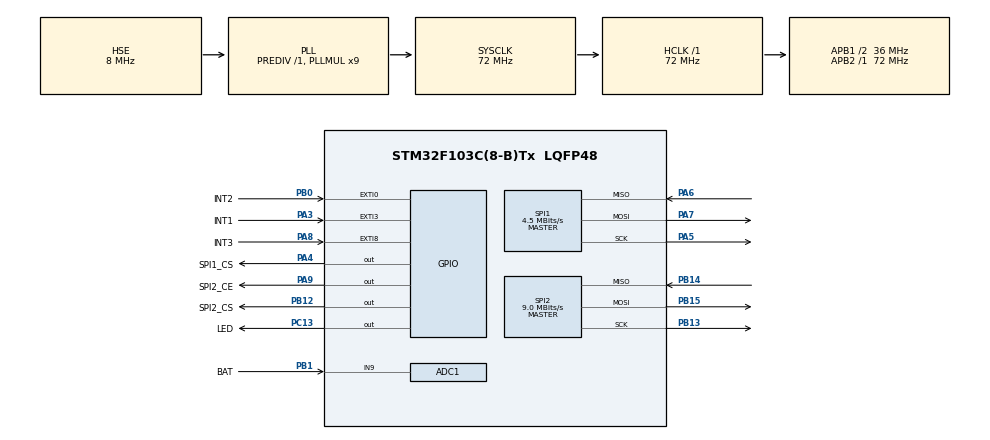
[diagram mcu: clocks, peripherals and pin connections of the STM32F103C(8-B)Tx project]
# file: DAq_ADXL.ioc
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ADC1.Channel-0\#ChannelRegularConversion=ADC_CHANNEL_9
ADC1.Channel-1\#ChannelInjectedConversion=ADC_CHANNEL_9
ADC1.InjNumberOfConversion=1
ADC1.InjectedOffset-1\#ChannelInjectedConversion=0
ADC1.NbrOfConversionFlag=1
ADC1.Rank-0\#ChannelRegularConversion=1
ADC1.Rank-1\#ChannelInjectedConversion=1
ADC1.SamplingTime-0\#ChannelRegularConversion=ADC_SAMPLETIME_1CYCLE_5
ADC1.SamplingTime-1\#ChannelInjectedConversion=ADC_SAMPLETIME_71CYCLES_5
ADC1.master=1
Dma.ADC1.0.Direction=DMA_PERIPH_TO_MEMORY
Dma.ADC1.0.Instance=DMA1_Channel1
Dma.ADC1.0.MemDataAlignment=DMA_MDATAALIGN_WORD
Dma.ADC1.0.MemInc=DMA_MINC_ENABLE
Dma.ADC1.0.Mode=DMA_NORMAL
Dma.ADC1.0.PeriphDataAlignment=DMA_PDATAALIGN_WORD
Dma.ADC1.0.PeriphInc=DMA_PINC_DISABLE
Dma.ADC1.0.Priority=DMA_PRIORITY_LOW
Dma.Request0=ADC1
Mcu.Family=STM32F1
Mcu.Name=STM32F103C(8-B)Tx
Mcu.Package=LQFP48
NVIC.DMA1_Channel1_IRQn=true\:0\:0\:false\:false\:true\:false\:true
NVIC.EXTI0_IRQn=true\:0\:0\:false\:false\:true\:true\:true
NVIC.EXTI3_IRQn=true\:0\:0\:false\:false\:true\:true\:true
NVIC.EXTI9_5_IRQn=true\:0\:0\:false\:false\:true\:true\:true
NVIC.PriorityGroup=NVIC_PRIORITYGROUP_4
NVIC.TIM1_CC_IRQn=true\:0\:0\:false\:false\:true\:true\:true
NVIC.TIM1_TRG_COM_IRQn=true\:0\:0\:false\:false\:true\:true\:true
NVIC.TIM1_UP_IRQn=true\:0\:0\:false\:false\:true\:true\:true
NVIC.TIM2_IRQn=true\:0\:0\:false\:false\:true\:true\:true
PA13.Mode=Serial_Wire
PA13.Signal=SYS_JTMS-SWDIO
PA14.Mode=Serial_Wire
PA14.Signal=SYS_JTCK-SWCLK
PA3.GPIO_Label=INT1
PA3.GPIO_ModeDefaultEXTI=GPIO_MODE_IT_FALLING
PA3.Signal=GPXTI3
PA4.GPIO_Label=SPI1_CS
PA4.Signal=GPIO_Output
PA5.Mode=Full_Duplex_Master
PA5.Signal=SPI1_SCK
PA6.Mode=Full_Duplex_Master
PA6.Signal=SPI1_MISO
PA7.Mode=Full_Duplex_Master
PA7.Signal=SPI1_MOSI
PA8.GPIO_Label=INT3
PA8.GPIO_ModeDefaultEXTI=GPIO_MODE_IT_FALLING
PA8.GPIO_PuPd=GPIO_NOPULL
PA8.Signal=GPXTI8
PA9.GPIO_Label=SPI2_CE
PA9.Signal=GPIO_Output
PB0.GPIO_Label=INT2
PB0.GPIO_ModeDefaultEXTI=GPIO_MODE_IT_FALLING
PB0.Signal=GPXTI0
PB1.GPIO_Label=BAT
PB1.Signal=ADCx_IN9
PB12.GPIO_Label=SPI2_CS
PB12.Signal=GPIO_Output
PB13.Mode=Full_Duplex_Master
PB13.Signal=SPI2_SCK
PB14.Mode=Full_Duplex_Master
PB14.Signal=SPI2_MISO
PB15.Mode=Full_Duplex_Master
PB15.Signal=SPI2_MOSI
PC13-TAMPER-RTC.GPIO_Label=LED
PC13-TAMPER-RTC.GPIO_ModeDefaultOutputPP=GPIO_MODE_OUTPUT_OD
PC13-TAMPER-RTC.PinState=GPIO_PIN_SET
PC13-TAMPER-RTC.Signal=GPIO_Output
PD0-OSC_IN.Mode=HSE-External-Oscillator
PD0-OSC_IN.Signal=RCC_OSC_IN
PD1-OSC_OUT.Mode=HSE-External-Oscillator
PD1-OSC_OUT.Signal=RCC_OSC_OUT
ProjectManager.HeapSize=0x200
ProjectManager.StackSize=0x400
ProjectManager.TargetToolchain=SW4STM32
RCC.ADCPresc=RCC_ADCPCLK2_DIV6
RCC.AHBFreq_Value=72000000
RCC.APB1CLKDivider=RCC_HCLK_DIV2
RCC.APB1Freq_Value=36000000
RCC.APB1TimFreq_Value=72000000
RCC.APB2Freq_Value=72000000
RCC.APB2TimFreq_Value=72000000
RCC.HCLKFreq_Value=72000000
RCC.PLLMUL=RCC_PLL_MUL9
RCC.PLLSourceVirtual=RCC_PLLSOURCE_HSE
RCC.SYSCLKFreq_VALUE=72000000
RCC.SYSCLKSource=RCC_SYSCLKSOURCE_PLLCLK
RCC.USBFreq_Value=72000000
RCC.VDD_VALUE=2.5
SH.ADCx_IN9.0=ADC1_IN9,IN9
SPI1.BaudRatePrescaler=SPI_BAUDRATEPRESCALER_16
SPI1.CalculateBaudRate=4.5 MBits/s
SPI1.Direction=SPI_DIRECTION_2LINES
SPI1.Mode=SPI_MODE_MASTER
SPI1.VirtualType=VM_MASTER
SPI2.BaudRatePrescaler=SPI_BAUDRATEPRESCALER_4
SPI2.CalculateBaudRate=9.0 MBits/s
SPI2.Direction=SPI_DIRECTION_2LINES
SPI2.Mode=SPI_MODE_MASTER
SPI2.VirtualType=VM_MASTER
TIM1.AutoReloadPreload=TIM_AUTORELOAD_PRELOAD_ENABLE
TIM1.Period=500
TIM1.Prescaler=44
TIM2.AutoReloadPreload=TIM_AUTORELOAD_PRELOAD_ENABLE
TIM2.Period=36000
TIM2.Prescaler=499
VP_TIM1_VS_ClockSourceINT.Mode=Internal
VP_TIM2_VS_ClockSourceINT.Mode=Internal
VP_TIM3_VS_ClockSourceINT.Mode=Internal
board=custom

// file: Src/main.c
/* USER CODE BEGIN Header */
/**
  ******************************************************************************
  * @file           : main.c
  * @brief          : Main program body
  ******************************************************************************
  * @attention
  *
  * <h2><center>&copy; Copyright (c) 2019 STMicroelectronics.
  * All rights reserved.</center></h2>
  *
  * This software component is licensed by ST under BSD 3-Clause license,
  * the "License"; You may not use this file except in compliance with the
  * License. You may obtain a copy of the License at:
  *                        opensource.org/licenses/BSD-3-Clause
  *
  ******************************************************************************
  */
/* USER CODE END Header */

#include "main.h"

/* USER CODE BEGIN Includes */
#include "ADXL345.h"

/* USER CODE END Includes */

/* USER CODE BEGIN PD */
#define fs3200 125
#define fs1200 250
#define fs00 100
#define fs3600 100
#define fs3600 100
#define fs3600 100
#define fs3600 100
#define fs3600 100
#define fs3600 100
#define fs3600 100

/* USER CODE END PD */

ADC_HandleTypeDef hadc1;
DMA_HandleTypeDef hdma_adc1;

SPI_HandleTypeDef hspi1;
SPI_HandleTypeDef hspi2;

TIM_HandleTypeDef htim1;
TIM_HandleTypeDef htim2;
TIM_HandleTypeDef htim3;

/* USER CODE BEGIN PV */
struct line {
	volatile uint32_t capacity;
	volatile uint32_t *data;
	volatile uint32_t first;
	volatile uint32_t last;
	volatile uint32_t nItens;
};

struct line accDataLine;

struct inteiro adxl;
struct flutuante angle;

volatile bool nRf24_IRQ = false;
volatile uint32_t tim1Counter = 0;

volatile uint32_t batLevel;

/* USER CODE END PV */

void SystemClock_Config(void);
static void MX_GPIO_Init(void);
static void MX_DMA_Init(void);
static void MX_ADC1_Init(void);
static void MX_SPI1_Init(void);
static void MX_SPI2_Init(void);
static void MX_TIM3_Init(void);
static void MX_TIM1_Init(void);
static void MX_TIM2_Init(void);
/* USER CODE BEGIN PFP */
void toggleLED(uint8_t delay, uint8_t times);
void lineInit(struct line *f, uint32_t c );
void lineInsert(struct line *f, uint32_t v);
int lineRemove(struct line *f );

/* USER CODE END PFP */

int main(void)
{
  /* USER CODE BEGIN 1 */

	//Utils
	bool blinking = false;

	//ADXL345 variables
	uint8_t range = 16;
	double sampleRate = 3600.0;
	bool lowPowerMode = false;
	bool acquisitionStarted = false;

	//nRF24 package variables
	char RF24msg[32];
	uint8_t dataPackage[32];
	uint8_t maxPackegeIndexPerSend = 30;
	uint8_t packageIndex;
	uint8_t readsAvailables;

  /* USER CODE END 1 */

  /* MCU Configuration--------------------------------------------------------*/

  /* Reset of all peripherals, Initializes the Flash interface and the Systick. */
  HAL_Init();

  /* Configure the system clock */
  SystemClock_Config();

  /* Initialize all configured peripherals */
  MX_GPIO_Init();
  MX_DMA_Init();
  MX_ADC1_Init();
  MX_SPI1_Init();
  MX_SPI2_Init();
  MX_TIM3_Init();
  MX_TIM1_Init();
  MX_TIM2_Init();
  /* USER CODE BEGIN 2 */
  //LED blink
  HAL_GPIO_WritePin(GPIOB, GPIO_PIN_3, 0);
  HAL_GPIO_WritePin(LED_GPIO_Port, LED_Pin, 1);
  HAL_Delay(100);
  HAL_GPIO_TogglePin(LED_GPIO_Port, LED_Pin);
  HAL_Delay(100);
  HAL_GPIO_TogglePin(LED_GPIO_Port, LED_Pin);
  HAL_Delay(100);
  HAL_GPIO_TogglePin(LED_GPIO_Port, LED_Pin);
  HAL_Delay(100);
  HAL_GPIO_TogglePin(LED_GPIO_Port, LED_Pin);
  HAL_Delay(100);
  HAL_GPIO_WritePin(LED_GPIO_Port, LED_Pin, 0);

  lineInit(&accDataLine, 100);

  //Reads the battery level
  HAL_ADC_Start_DMA(&hadc1, &batLevel, 1);

  //Accelerometer initialization
  acel_init(&hspi1, 14);
  //acel_range(16);
  //acel_sample_rate(3200);
  //acel_measure(true);

  //Radio initialization
  nRF24 radio = nRF24(&hspi2, 30, 25, 20);

  //Timer 3600Hz initialization
  //HAL_TIM_Base_Start_IT(&htim1);

  //HAL_PWR_EnterSLEEPMode(PWR_MAINREGULATOR_ON, PWR_SLEEPENTRY_WFI);

  /* USER CODE END 2 */

  /* Infinite loop */
  while (1)
  {

    /* USER CODE BEGIN 3 */
	  /*
	while(!acquisitionStarted){
		if(nRf24_IRQ){
			if(radio.available()){
				radio.read(nRF24buf);
				if(strncmp(nRF24buf, "start", 5) == 0){

					//Blinks the LED and turn ir off
					if(blinking) {
						HAL_TIM_Base_Stop_IT(&htim2);
					}
					toggleLED(100, 2);
					HAL_GPIO_WritePin(LED_GPIO_Port, LED_Pin, GPIO_PIN_SET);
					//

					acel_measure(true);
					HAL_TIM_Base_Start_IT(&htim1);	//Timer 3600Hz initialization
					HAL_ADC_Start_DMA(&hadc1, &batLevel, 1);	//Reads battery level
					acquisitionStarted = true;	//Starts the acquisition
				} else if (strncmp(nRF24buf, "blink", 5) == 0) {
					if(blinking){
						HAL_TIM_Base_Stop_IT(&htim2);
						blinking = false;
					} else{
						HAL_TIM_Base_Start_IT(&htim2);
						blinking = true;
					}
				} else if (strncmp(nRF24buf, "battery", 7) == 0){
					HAL_ADC_Start_DMA(&hadc1, &batLevel, 1);	//Reads battery level
					HAL_Delay(1);
					radio.send(batLevel);
				} else if (strncmp(nRF24buf, "fs", 2) == 0){
					sampleRate = atoi((const char*)(nRF24buf + 2));
					acel_change_sample_rate(sampleRate);

					htim1.Init.Period = 500.0/(sampleRate/3600.0);
					HAL_TIM_Base_Init(&htim1);

				} else if (strncmp(nRF24buf, "range", 5) == 0){
					range = atoi((const char*)(nRF24buf + 2));
					acel_change_range(range);

					switch (range) {
						case 2:
							maxPackegeIndexPerSend = 30;
							break;
						case 4:
							maxPackegeIndexPerSend = 29;
							break;
						case 8:
							maxPackegeIndexPerSend = 27;
							break;
						case 16:
							maxPackegeIndexPerSend = 30;
							break;
						default:
							break;
					}
				}
			}
		}
	}
	while(acquisitionStarted) {
		if(accDataLine.nItens){

			readsAvailables = accDataLine.nItens

			for(; (packageIndex < readsAvailables) || (packageIndex == maxPackegeIndexPerSend); packageIndex++){

			}

			if(packageIndex == maxPackegeIndexPerSend) {
				dataPackage[30] = (batLevel & 0xF00)>>8;
				dataPackage[31] = batLevel & 0xFF;
				if(radio.send((const char *)dataPackage, 30, 0)){
					radio.read(RF24msg);
					if(strncmp(RF24msg, "stop", 4) == 0) {
						acel_measure(false);
						HAL_TIM_Base_Stop_IT(&htim1);
						toggleLED(100, 7);
						acquisitionStarted = false;
					}
				}
				packageIndex = 0;
				HAL_ADC_Start_DMA(&hadc1, &batLevel, 1);
			}
		}
	}*/
	if(tim1Counter == 3200){
		HAL_GPIO_TogglePin(LED_GPIO_Port, LED_Pin);
		lineRemove(&accDataLine);
		tim1Counter = 0;
	}
  }
  /* USER CODE END 3 */
}

void SystemClock_Config(void)
{
  RCC_OscInitTypeDef RCC_OscInitStruct = {0};
  RCC_ClkInitTypeDef RCC_ClkInitStruct = {0};
  RCC_PeriphCLKInitTypeDef PeriphClkInit = {0};

  /** Initializes the CPU, AHB and APB busses clocks
  */
  RCC_OscInitStruct.OscillatorType = RCC_OSCILLATORTYPE_HSE;
  RCC_OscInitStruct.HSEState = RCC_HSE_ON;
  RCC_OscInitStruct.HSEPredivValue = RCC_HSE_PREDIV_DIV1;
  RCC_OscInitStruct.HSIState = RCC_HSI_ON;
  RCC_OscInitStruct.PLL.PLLState = RCC_PLL_ON;
  RCC_OscInitStruct.PLL.PLLSource = RCC_PLLSOURCE_HSE;
  RCC_OscInitStruct.PLL.PLLMUL = RCC_PLL_MUL9;
  if (HAL_RCC_OscConfig(&RCC_OscInitStruct) != HAL_OK)
  {
    Error_Handler();
  }
  /** Initializes the CPU, AHB and APB busses clocks
  */
  RCC_ClkInitStruct.ClockType = RCC_CLOCKTYPE_HCLK|RCC_CLOCKTYPE_SYSCLK
                              |RCC_CLOCKTYPE_PCLK1|RCC_CLOCKTYPE_PCLK2;
  RCC_ClkInitStruct.SYSCLKSource = RCC_SYSCLKSOURCE_PLLCLK;
  RCC_ClkInitStruct.AHBCLKDivider = RCC_SYSCLK_DIV1;
  RCC_ClkInitStruct.APB1CLKDivider = RCC_HCLK_DIV2;
  RCC_ClkInitStruct.APB2CLKDivider = RCC_HCLK_DIV1;

  if (HAL_RCC_ClockConfig(&RCC_ClkInitStruct, FLASH_LATENCY_2) != HAL_OK)
  {
    Error_Handler();
  }
  PeriphClkInit.PeriphClockSelection = RCC_PERIPHCLK_ADC;
  PeriphClkInit.AdcClockSelection = RCC_ADCPCLK2_DIV6;
  if (HAL_RCCEx_PeriphCLKConfig(&PeriphClkInit) != HAL_OK)
  {
    Error_Handler();
  }
}

static void MX_ADC1_Init(void)
{

  ADC_ChannelConfTypeDef sConfig = {0};

  /** Common config
  */
  hadc1.Instance = ADC1;
  hadc1.Init.ScanConvMode = ADC_SCAN_DISABLE;
  hadc1.Init.ContinuousConvMode = DISABLE;
  hadc1.Init.DiscontinuousConvMode = DISABLE;
  hadc1.Init.ExternalTrigConv = ADC_SOFTWARE_START;
  hadc1.Init.DataAlign = ADC_DATAALIGN_RIGHT;
  hadc1.Init.NbrOfConversion = 1;
  if (HAL_ADC_Init(&hadc1) != HAL_OK)
  {
    Error_Handler();
  }
  /** Configure Regular Channel
  */
  sConfig.Channel = ADC_CHANNEL_9;
  sConfig.Rank = ADC_REGULAR_RANK_1;
  sConfig.SamplingTime = ADC_SAMPLETIME_71CYCLES_5;
  if (HAL_ADC_ConfigChannel(&hadc1, &sConfig) != HAL_OK)
  {
    Error_Handler();
  }

}

static void MX_SPI1_Init(void)
{

  /* SPI1 parameter configuration*/
  hspi1.Instance = SPI1;
  hspi1.Init.Mode = SPI_MODE_MASTER;
  hspi1.Init.Direction = SPI_DIRECTION_2LINES;
  hspi1.Init.DataSize = SPI_DATASIZE_8BIT;
  hspi1.Init.CLKPolarity = SPI_POLARITY_LOW;
  hspi1.Init.CLKPhase = SPI_PHASE_1EDGE;
  hspi1.Init.NSS = SPI_NSS_SOFT;
  hspi1.Init.BaudRatePrescaler = SPI_BAUDRATEPRESCALER_16;
  hspi1.Init.FirstBit = SPI_FIRSTBIT_MSB;
  hspi1.Init.TIMode = SPI_TIMODE_DISABLE;
  hspi1.Init.CRCCalculation = SPI_CRCCALCULATION_DISABLE;
  hspi1.Init.CRCPolynomial = 10;
  if (HAL_SPI_Init(&hspi1) != HAL_OK)
  {
    Error_Handler();
  }

}

static void MX_SPI2_Init(void)
{

  /* SPI2 parameter configuration*/
  hspi2.Instance = SPI2;
  hspi2.Init.Mode = SPI_MODE_MASTER;
  hspi2.Init.Direction = SPI_DIRECTION_2LINES;
  hspi2.Init.DataSize = SPI_DATASIZE_8BIT;
  hspi2.Init.CLKPolarity = SPI_POLARITY_LOW;
  hspi2.Init.CLKPhase = SPI_PHASE_1EDGE;
  hspi2.Init.NSS = SPI_NSS_SOFT;
  hspi2.Init.BaudRatePrescaler = SPI_BAUDRATEPRESCALER_4;
  hspi2.Init.FirstBit = SPI_FIRSTBIT_MSB;
  hspi2.Init.TIMode = SPI_TIMODE_DISABLE;
  hspi2.Init.CRCCalculation = SPI_CRCCALCULATION_DISABLE;
  hspi2.Init.CRCPolynomial = 10;
  if (HAL_SPI_Init(&hspi2) != HAL_OK)
  {
    Error_Handler();
  }

}

static void MX_TIM1_Init(void)
{

  TIM_ClockConfigTypeDef sClockSourceConfig = {0};
  TIM_MasterConfigTypeDef sMasterConfig = {0};

  htim1.Instance = TIM1;
  htim1.Init.Prescaler = 44;
  htim1.Init.CounterMode = TIM_COUNTERMODE_UP;
  htim1.Init.Period = 500;
  htim1.Init.ClockDivision = TIM_CLOCKDIVISION_DIV1;
  htim1.Init.RepetitionCounter = 0;
  htim1.Init.AutoReloadPreload = TIM_AUTORELOAD_PRELOAD_ENABLE;
  if (HAL_TIM_Base_Init(&htim1) != HAL_OK)
  {
    Error_Handler();
  }
  sClockSourceConfig.ClockSource = TIM_CLOCKSOURCE_INTERNAL;
  if (HAL_TIM_ConfigClockSource(&htim1, &sClockSourceConfig) != HAL_OK)
  {
    Error_Handler();
  }
  sMasterConfig.MasterOutputTrigger = TIM_TRGO_RESET;
  sMasterConfig.MasterSlaveMode = TIM_MASTERSLAVEMODE_DISABLE;
  if (HAL_TIMEx_MasterConfigSynchronization(&htim1, &sMasterConfig) != HAL_OK)
  {
    Error_Handler();
  }

}

static void MX_TIM2_Init(void)
{

  TIM_ClockConfigTypeDef sClockSourceConfig = {0};
  TIM_MasterConfigTypeDef sMasterConfig = {0};

  htim2.Instance = TIM2;
  htim2.Init.Prescaler = 499;
  htim2.Init.CounterMode = TIM_COUNTERMODE_UP;
  htim2.Init.Period = 36000;
  htim2.Init.ClockDivision = TIM_CLOCKDIVISION_DIV1;
  htim2.Init.AutoReloadPreload = TIM_AUTORELOAD_PRELOAD_DISABLE;
  if (HAL_TIM_Base_Init(&htim2) != HAL_OK)
  {
    Error_Handler();
  }
  sClockSourceConfig.ClockSource = TIM_CLOCKSOURCE_INTERNAL;
  if (HAL_TIM_ConfigClockSource(&htim2, &sClockSourceConfig) != HAL_OK)
  {
    Error_Handler();
  }
  sMasterConfig.MasterOutputTrigger = TIM_TRGO_RESET;
  sMasterConfig.MasterSlaveMode = TIM_MASTERSLAVEMODE_DISABLE;
  if (HAL_TIMEx_MasterConfigSynchronization(&htim2, &sMasterConfig) != HAL_OK)
  {
    Error_Handler();
  }

}

static void MX_TIM3_Init(void)
{

  TIM_ClockConfigTypeDef sClockSourceConfig = {0};
  TIM_MasterConfigTypeDef sMasterConfig = {0};

  htim3.Instance = TIM3;
  htim3.Init.Prescaler = 0;
  htim3.Init.CounterMode = TIM_COUNTERMODE_UP;
  htim3.Init.Period = 0;
  htim3.Init.ClockDivision = TIM_CLOCKDIVISION_DIV1;
  htim3.Init.AutoReloadPreload = TIM_AUTORELOAD_PRELOAD_DISABLE;
  if (HAL_TIM_Base_Init(&htim3) != HAL_OK)
  {
    Error_Handler();
  }
  sClockSourceConfig.ClockSource = TIM_CLOCKSOURCE_INTERNAL;
  if (HAL_TIM_ConfigClockSource(&htim3, &sClockSourceConfig) != HAL_OK)
  {
    Error_Handler();
  }
  sMasterConfig.MasterOutputTrigger = TIM_TRGO_RESET;
  sMasterConfig.MasterSlaveMode = TIM_MASTERSLAVEMODE_DISABLE;
  if (HAL_TIMEx_MasterConfigSynchronization(&htim3, &sMasterConfig) != HAL_OK)
  {
    Error_Handler();
  }

}

static void MX_DMA_Init(void)
{
  /* DMA controller clock enable */
  __HAL_RCC_DMA1_CLK_ENABLE();

  /* DMA interrupt init */
  /* DMA1_Channel1_IRQn interrupt configuration */
  HAL_NVIC_SetPriority(DMA1_Channel1_IRQn, 0, 0);
  HAL_NVIC_EnableIRQ(DMA1_Channel1_IRQn);

}

static void MX_GPIO_Init(void)
{
  GPIO_InitTypeDef GPIO_InitStruct = {0};

  /* GPIO Ports Clock Enable */
  __HAL_RCC_GPIOC_CLK_ENABLE();
  __HAL_RCC_GPIOD_CLK_ENABLE();
  __HAL_RCC_GPIOA_CLK_ENABLE();
  __HAL_RCC_GPIOB_CLK_ENABLE();

  /*Configure GPIO pin Output Level */
  HAL_GPIO_WritePin(LED_GPIO_Port, LED_Pin, GPIO_PIN_SET);

  /*Configure GPIO pin Output Level */
  HAL_GPIO_WritePin(GPIOA, SPI1_CS_Pin|SPI2_CE_Pin, GPIO_PIN_RESET);

  /*Configure GPIO pin Output Level */
  HAL_GPIO_WritePin(SPI2_CS_GPIO_Port, SPI2_CS_Pin, GPIO_PIN_RESET);

  /*Configure GPIO pin : LED_Pin */
  GPIO_InitStruct.Pin = LED_Pin;
  GPIO_InitStruct.Mode = GPIO_MODE_OUTPUT_OD;
  GPIO_InitStruct.Pull = GPIO_NOPULL;
  GPIO_InitStruct.Speed = GPIO_SPEED_FREQ_LOW;
  HAL_GPIO_Init(LED_GPIO_Port, &GPIO_InitStruct);

  /*Configure GPIO pin : INT1_Pin */
  GPIO_InitStruct.Pin = INT1_Pin;
  GPIO_InitStruct.Mode = GPIO_MODE_IT_RISING;
  GPIO_InitStruct.Pull = GPIO_NOPULL;
  HAL_GPIO_Init(INT1_GPIO_Port, &GPIO_InitStruct);

  /*Configure GPIO pins : SPI1_CS_Pin SPI2_CE_Pin */
  GPIO_InitStruct.Pin = SPI1_CS_Pin|SPI2_CE_Pin;
  GPIO_InitStruct.Mode = GPIO_MODE_OUTPUT_PP;
  GPIO_InitStruct.Pull = GPIO_NOPULL;
  GPIO_InitStruct.Speed = GPIO_SPEED_FREQ_LOW;
  HAL_GPIO_Init(GPIOA, &GPIO_InitStruct);

  /*Configure GPIO pin : INT2_Pin */
  GPIO_InitStruct.Pin = INT2_Pin;
  GPIO_InitStruct.Mode = GPIO_MODE_IT_RISING;
  GPIO_InitStruct.Pull = GPIO_NOPULL;
  HAL_GPIO_Init(INT2_GPIO_Port, &GPIO_InitStruct);

  /*Configure GPIO pin : SPI2_CS_Pin */
  GPIO_InitStruct.Pin = SPI2_CS_Pin;
  GPIO_InitStruct.Mode = GPIO_MODE_OUTPUT_PP;
  GPIO_InitStruct.Pull = GPIO_NOPULL;
  GPIO_InitStruct.Speed = GPIO_SPEED_FREQ_LOW;
  HAL_GPIO_Init(SPI2_CS_GPIO_Port, &GPIO_InitStruct);

  /*Configure GPIO pin : INT3_Pin */
  GPIO_InitStruct.Pin = INT3_Pin;
  GPIO_InitStruct.Mode = GPIO_MODE_IT_FALLING;
  GPIO_InitStruct.Pull = GPIO_PULLUP;
  HAL_GPIO_Init(INT3_GPIO_Port, &GPIO_InitStruct);

  /* EXTI interrupt init*/
  HAL_NVIC_SetPriority(EXTI0_IRQn, 0, 0);
  HAL_NVIC_EnableIRQ(EXTI0_IRQn);

  HAL_NVIC_SetPriority(EXTI3_IRQn, 0, 0);
  HAL_NVIC_EnableIRQ(EXTI3_IRQn);

  HAL_NVIC_SetPriority(EXTI9_5_IRQn, 0, 0);
  HAL_NVIC_EnableIRQ(EXTI9_5_IRQn);

}

/* USER CODE BEGIN 4 */
//Timer IRQ handle. Timer set at 3600Hz.
void HAL_TIM_PeriodElapsedCallback(TIM_HandleTypeDef *htim){
	if(htim == &htim1){
		adxl = acel_burst_read();
		//lineInsert(&accDataLine, adxl.X);
		//lineInsert(&accDataLine, adxl.Y);
		//lineInsert(&accDataLine, adxl.Z);
		//tim1Counter++;
	} else if(htim == &htim2) {
		HAL_GPIO_TogglePin(LED_GPIO_Port, LED_Pin);
	}
}

//External IRQ handle.
void HAL_GPIO_EXTI_Callback(uint16_t GPIO_Pin){
  if(GPIO_Pin == INT3_Pin){
    nRf24_IRQ = 1;
  }
}

void toggleLED(uint8_t delay, uint8_t times){
  while (times--) {
    HAL_GPIO_TogglePin(LED_GPIO_Port, LED_Pin);
    if (delay)
    	HAL_Delay(delay);
  }
}

//List functions
void lineInit( struct line *f, uint32_t c ) {

	f->capacity = c;
	f->data = (uint32_t*) malloc (f->capacity * sizeof(uint32_t));
	f->first = 0;
	f->last = -1;
	f->nItens = 0;

}

void lineInsert(struct line *f, uint32_t v) {

    if (f->last == f->capacity-1){
        f->last = -1;
    }
    f->last++;
    f->data[f->last] = v; // incrementa last e insere
    f->nItens++; // mais um item inserido
}

int lineRemove( struct line *f ) { // pega o item do começo da line

	uint32_t temp = f->data[f->first++]; // pega o valor e incrementa o first

	if(f->first == f->capacity)
		f->first = 0;

	f->nItens--;  // um item retirado
	return temp;

}

/* USER CODE END 4 */

void Error_Handler(void)
{
}

/************************ (C) COPYRIGHT STMicroelectronics *****END OF FILE****/
